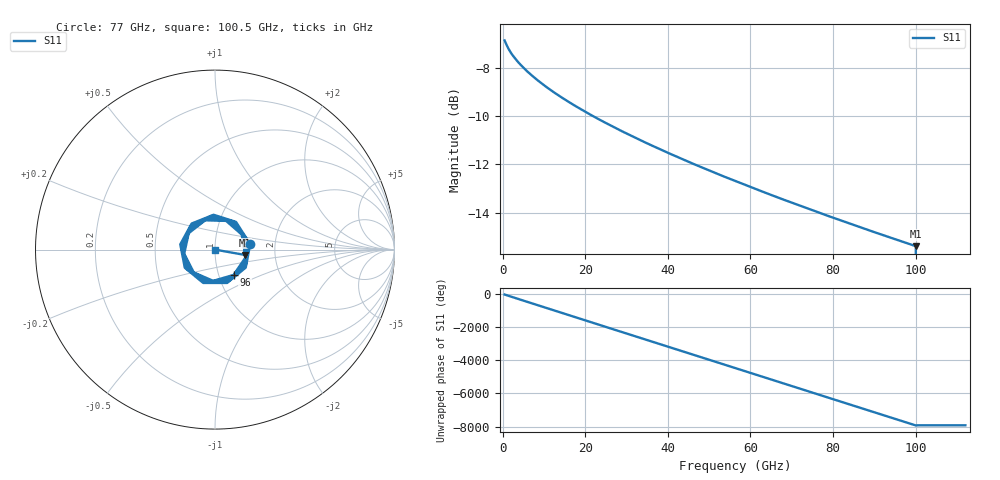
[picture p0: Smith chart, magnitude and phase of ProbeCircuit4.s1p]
! File created by SignalIntegrity v1.2.1: Signal and Power Integrity Tools
! https://github.com/TeledyneLeCroy/SignalIntegrity
# MHz S MA R 50.0
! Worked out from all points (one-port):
!   224 points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, 500 MHz to 112 GHz, reference 50 ohm
!   lowest |S11| = -15.4 dB at 100 GHz (marker M1), VSWR 1.41, Z = 70 - j4.33 ohm
!   |S11| at or under -10 dB: 21.86 GHz to end of sweep
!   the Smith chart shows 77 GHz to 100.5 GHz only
!   S11 on the Smith chart (normalised r, x): 77 GHz: 1.49, +0.10; 96 GHz: 1.18, -0.34; 100.5 GHz: 1.00, +0.00
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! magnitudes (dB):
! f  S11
! 500 MHz  -6.9
! 1 GHz  -7.1
! 1.5 GHz  -7.2
! 2 GHz  -7.4
! 2.5 GHz  -7.5
! 3.5 GHz  -7.7
! 5 GHz  -8.0
! 6.5 GHz  -8.2
! 8.5 GHz  -8.5
! 11 GHz  -8.8
! 14.5 GHz  -9.3
! 17.5 GHz  -9.6
! 21.5 GHz  -10.0
! 24 GHz  -10.2
! 28.5 GHz  -10.6
! 35 GHz  -11.1
! 42.5 GHz  -11.7
! 49 GHz  -12.2
! 56.5 GHz  -12.7
! 62.5 GHz  -13.1
! 70.5 GHz  -13.6
! 77 GHz  -14.0
! 84.5 GHz  -14.5
! 96 GHz  -15.1
! 98.5 GHz  -15.3
! 100 GHz  -15.4
! 100.5 GHz  -
! 112 GHz  -
